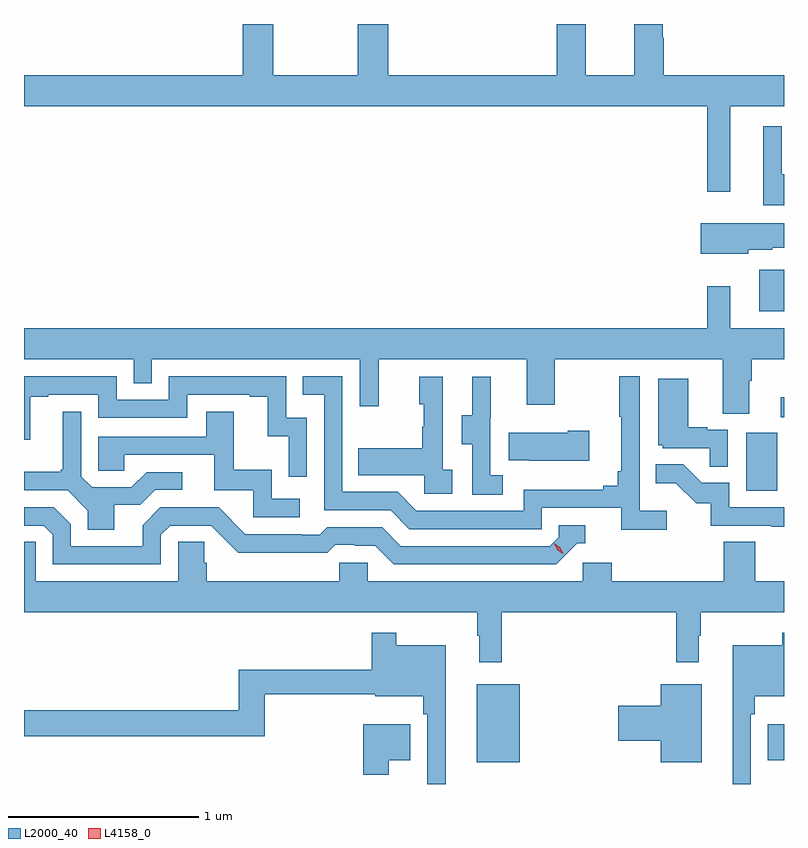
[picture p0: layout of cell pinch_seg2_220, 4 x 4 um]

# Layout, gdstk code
import gdstk
lib = gdstk.Library(unit=1e-6, precision=1e-09)
def R(c, l, rs):  # rectangles x0, y0, x1, y1
    for r in rs: c.add(gdstk.rectangle(r[:2], r[2:], *l))
def P(c, l, *ps):  # polygons
    for p in ps: c.add(gdstk.Polygon(p, *l))
L2000_40 = (2000, 40)
L4158_0 = (4158, 0)

pinch_seg2_220 = lib.new_cell('pinch_seg2_220')
R(pinch_seg2_220, L2000_40, [(996.665,657.503,996.892,657.913), (998.198,657.515,998.283,657.703), (998.084,658.932,998.248,659.239), (998.265,659.319,998.283,659.425), (998.153,659.877,998.283,660.096)])
P(pinch_seg2_220, L2000_40, [(997.878,660.507),(997.999,660.507),(997.999,660.956),(998.283,660.956),(998.283,661.12),(997.649,661.12),(997.649,661.316),(997.644,661.316),(997.644,661.389),(997.496,661.389),(997.496,661.12),(997.24,661.12),(997.24,661.389),(997.088,661.389),(997.088,661.12),(996.2,661.12),(996.2,661.389),(996.04,661.389),(996.04,661.12),(995.595,661.12),(995.595,661.389),(995.435,661.389),(995.435,661.12),(994.283,661.12),(994.283,660.956),(997.878,660.956)],
  [(998.283,660.598),(998.272,660.598),(998.272,660.85),(998.174,660.85),(998.174,660.434),(998.283,660.434)],
  [(998.094,660.2),(998.22,660.2),(998.22,660.211),(998.283,660.211),(998.283,660.34),(997.844,660.34),(997.844,660.179),(998.094,660.179)],
  [(997.999,660.01),(997.878,660.01),(997.878,659.788),(994.283,659.788),(994.283,659.624),(994.86,659.624),(994.86,659.497),(994.956,659.497),(994.956,659.624),(996.051,659.624),(996.051,659.376),(996.149,659.376),(996.149,659.624),(996.929,659.624),(996.929,659.385),(997.077,659.385),(997.077,659.624),(997.961,659.624),(997.961,659.338),(998.101,659.338),(998.101,659.512),(998.114,659.512),(998.114,659.624),(998.283,659.624),(998.283,659.788),(997.999,659.788)],
  [(997.666,658.828),(997.524,658.828),(997.524,659.536),(997.416,659.536),(997.416,659.323),(997.427,659.323),(997.427,659.035),(997.408,659.035),(997.408,658.958),(997.331,658.958),(997.331,658.939),(996.912,658.939),(996.912,658.827),(996.348,658.827),(996.249,658.926),(995.958,658.926),(995.958,659.535),(995.749,659.535),(995.749,659.439),(995.862,659.439),(995.862,658.83),(996.212,658.83),(996.311,658.731),(997.008,658.731),(997.008,658.842),(997.427,658.842),(997.427,658.726),(997.666,658.726)],
  [(995.772,659.316),(995.664,659.316),(995.664,659.535),(995.046,659.535),(995.046,659.412),(994.77,659.412),(994.77,659.535),(994.283,659.535),(994.283,659.201),(994.315,659.201),(994.315,659.427),(994.411,659.427),(994.411,659.439),(994.674,659.439),(994.674,659.316),(995.142,659.316),(995.142,659.439),(995.471,659.439),(995.471,659.427),(995.567,659.427),(995.567,659.219),(995.676,659.219),(995.676,659.007),(995.772,659.007)],
  [(996.538,659.042),(996.486,659.042),(996.486,659.533),(996.362,659.533),(996.362,659.388),(996.388,659.388),(996.388,659.27),(996.378,659.27),(996.378,659.155),(996.043,659.155),(996.043,659.015),(996.39,659.015),(996.39,658.917),(996.538,658.917)],
  [(996.802,659.015),(996.738,659.015),(996.738,659.319),(996.74,659.319),(996.74,659.533),(996.641,659.533),(996.641,659.331),(996.587,659.331),(996.587,659.176),(996.642,659.176),(996.642,658.912),(996.802,658.912)],
  [(997.986,659.253),(997.88,659.253),(997.88,659.266),(997.78,659.266),(997.78,659.521),(997.622,659.521),(997.622,659.172),(997.644,659.172),(997.644,659.157),(997.891,659.157),(997.891,659.059),(997.986,659.059)],
  [(994.759,658.858),(994.894,658.858),(994.974,658.938),(995.116,658.938),(995.116,659.031),(994.928,659.031),(994.847,658.95),(994.641,658.95),(994.584,659.007),(994.584,659.347),(994.487,659.347),(994.487,659.044),(994.476,659.044),(994.476,659.032),(994.283,659.032),(994.283,658.935),(994.512,658.935),(994.619,658.828),(994.619,658.726),(994.759,658.726)],
  [(995.734,658.89),(995.586,658.89),(995.586,659.044),(995.387,659.044),(995.387,659.347),(995.243,659.347),(995.243,659.217),(994.674,659.217),(994.674,659.037),(994.811,659.037),(994.811,659.121),(995.285,659.121),(995.285,658.935),(995.49,658.935),(995.49,658.794),(995.734,658.794)],
  [(997.258,659.247),(997.145,659.247),(997.145,659.239),(996.835,659.239),(996.835,659.093),(996.943,659.093),(996.943,659.09),(997.258,659.09)],
  [(998.283,658.845),(997.995,658.845),(997.995,658.974),(997.851,658.974),(997.753,659.072),(997.609,659.072),(997.609,658.973),(997.713,658.973),(997.82,658.866),(997.897,658.866),(997.897,658.749),(998.215,658.749),(998.215,658.744),(998.283,658.744)],
  [(995.004,658.701),(995.052,658.749),(995.268,658.749),(995.41,658.607),(995.646,658.607),(995.646,658.605),(995.879,658.605),(995.921,658.647),(996.024,658.647),(996.024,658.644),(996.131,658.644),(996.23,658.545),(997.083,658.545),(997.194,658.656),(997.237,658.656),(997.237,658.752),(997.098,658.752),(997.098,658.689),(997.05,658.641),(996.267,658.641),(996.168,658.74),(995.879,658.74),(995.84,658.701),(995.741,658.701),(995.741,658.704),(995.448,658.704),(995.307,658.845),(995.001,658.845),(994.907,658.751),(994.907,658.641),(994.53,658.641),(994.53,658.755),(994.44,658.845),(994.283,658.845),(994.283,658.749),(994.386,658.749),(994.434,658.701),(994.434,658.545),(995.004,658.545)],
  [(996.797,658.292),(997.717,658.292),(997.717,658.029),(997.834,658.029),(997.834,658.169),(997.846,658.169),(997.846,658.292),(998.283,658.292),(998.283,658.456),(998.132,658.456),(998.132,658.664),(997.967,658.664),(997.967,658.456),(997.376,658.456),(997.376,658.554),(997.224,658.554),(997.224,658.456),(996.093,658.456),(996.093,658.554),(995.943,658.554),(995.943,658.456),(995.246,658.456),(995.246,658.554),(995.231,658.554),(995.231,658.664),(995.094,658.664),(995.094,658.456),(994.344,658.456),(994.344,658.664),(994.283,658.664),(994.283,658.292),(996.669,658.292),(996.669,658.169),(996.68,658.169),(996.68,658.029),(996.797,658.029)],
  [(998.109,657.755),(998.129,657.755),(998.129,657.851),(998.283,657.851),(998.283,658.186),(998.274,658.186),(998.274,658.12),(998.012,658.12),(998.012,657.389),(998.109,657.389)],
  [(996.502,658.12),(996.241,658.12),(996.241,658.186),(996.112,658.186),(996.112,657.991),(995.413,657.991),(995.413,657.776),(994.283,657.776),(994.283,657.64),(995.549,657.64),(995.549,657.862),(996.131,657.862),(996.131,657.851),(996.385,657.851),(996.385,657.755),(996.405,657.755),(996.405,657.389),(996.502,657.389)],
  [(997.849,657.913),(997.634,657.913),(997.634,657.8),(997.41,657.8),(997.41,657.617),(997.634,657.617),(997.634,657.503),(997.849,657.503)],
  [(996.202,657.515),(996.316,657.515),(996.316,657.703),(996.068,657.703),(996.068,657.437),(996.202,657.437)])
P(pinch_seg2_220, L4158_0, [(997.119,658.601),(997.089,658.621),(997.073,658.654),(997.073,658.655),(997.073,658.655),(997.104,658.634),(997.12,658.601),(997.12,658.601)])

lib.write_gds('pinch_seg2_220.gds')
